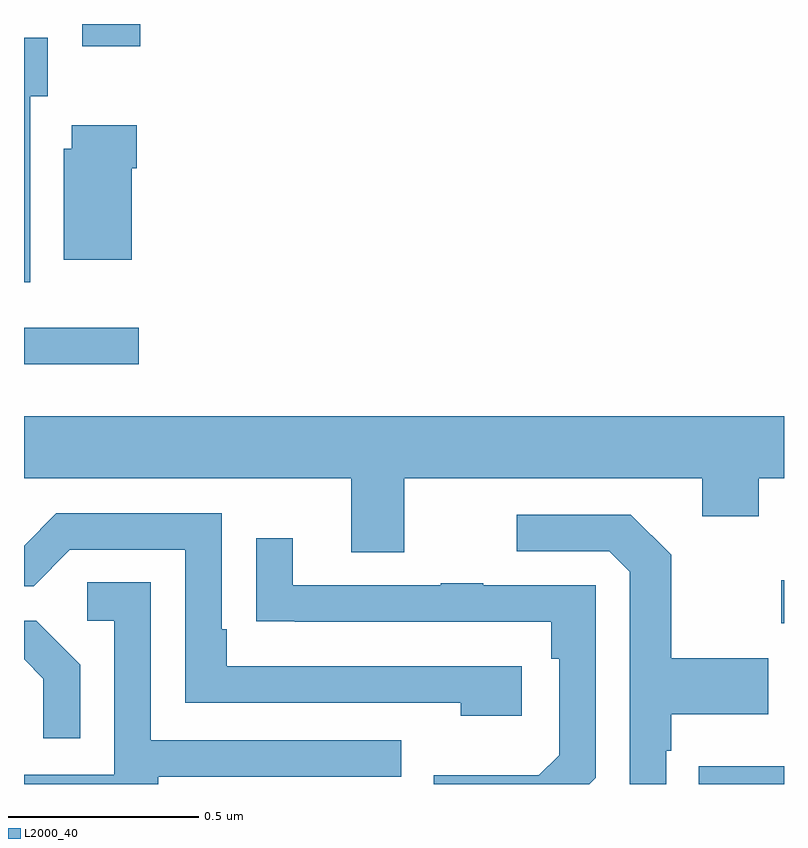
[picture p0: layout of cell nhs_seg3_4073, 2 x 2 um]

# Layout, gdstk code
import gdstk
lib = gdstk.Library(unit=1e-6, precision=1e-09)
def R(c, l, rs):  # rectangles x0, y0, x1, y1
    for r in rs: c.add(gdstk.rectangle(r[:2], r[2:], *l))
def P(c, l, *ps):  # polygons
    for p in ps: c.add(gdstk.Polygon(p, *l))
L2000_40 = (2000, 40)

nhs_seg3_4073 = lib.new_cell('nhs_seg3_4073')
R(nhs_seg3_4073, L2000_40, [(162.775,745.4,163,745.447), (162.993,745.823,163,745.936), (161,746.504,161.302,746.601), (161.153,747.342,161.306,747.4)])
P(nhs_seg3_4073, L2000_40, [(161.017,747.21),(161.062,747.21),(161.062,747.364),(161,747.364),(161,746.721),(161.017,746.721)],
  [(161.284,747.02),(161.297,747.02),(161.297,747.133),(161.126,747.133),(161.126,747.072),(161.105,747.072),(161.105,746.78),(161.284,746.78)],
  [(162.001,746.204),(162.785,746.204),(162.785,746.105),(162.933,746.105),(162.933,746.204),(163,746.204),(163,746.368),(161,746.368),(161,746.204),(161.861,746.204),(161.861,746.01),(162.001,746.01)],
  [(162.31,745.71),(161.533,745.71),(161.533,745.807),(161.52,745.807),(161.52,746.112),(161.085,746.112),(161,746.027),(161,745.92),(161.025,745.92),(161.121,746.016),(161.424,746.016),(161.424,745.614),(162.149,745.614),(162.149,745.58),(162.31,745.58)],
  [(162.69,745.487),(162.703,745.487),(162.703,745.583),(162.959,745.583),(162.959,745.731),(162.703,745.731),(162.703,746.003),(162.597,746.109),(162.297,746.109),(162.297,746.013),(162.54,746.013),(162.594,745.959),(162.594,745.4),(162.69,745.4)],
  [(162.504,745.416),(162.504,745.923),(162.209,745.923),(162.209,745.928),(162.097,745.928),(162.097,745.923),(161.707,745.923),(161.707,746.047),(161.611,746.047),(161.611,745.828),(161.713,745.828),(161.713,745.827),(162.388,745.827),(162.388,745.73),(162.408,745.73),(162.408,745.476),(162.355,745.423),(162.078,745.423),(162.078,745.4),(162.488,745.4)],
  [(161.353,745.419),(161.993,745.419),(161.993,745.515),(161.334,745.515),(161.334,745.931),(161.166,745.931),(161.166,745.83),(161.238,745.83),(161.238,745.425),(161,745.425),(161,745.4),(161.353,745.4)],
  [(161.148,745.714),(161.032,745.83),(161,745.83),(161,745.728),(161.051,745.677),(161.051,745.521),(161.148,745.521)])

lib.write_gds('nhs_seg3_4073.gds')
